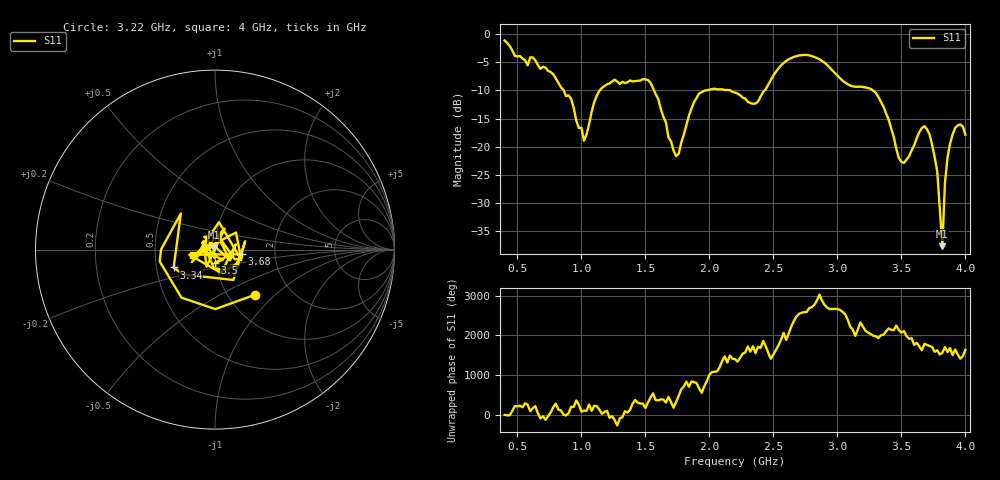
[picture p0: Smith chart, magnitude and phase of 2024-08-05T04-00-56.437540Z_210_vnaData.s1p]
!Created with skrf (http://scikit-rf.org).
# Hz S RI R 50.0
!freq ReS11 ImS11
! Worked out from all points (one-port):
!   181 points, 400 MHz to 4 GHz, reference 50 ohm
!   lowest |S11| = -37.6 dB at 3.82 GHz (marker M1), VSWR 1.03, Z = 49.2 + j1.01 ohm
!   |S11| at or under -10 dB: 861.2 MHz to 1.143 GHz (281.8 MHz wide, 28.1 % of centre); 1.567 GHz to 1.975 GHz (407.9 MHz wide, 23 % of centre); 3.278 GHz to end of sweep (the widest 3 of 4)
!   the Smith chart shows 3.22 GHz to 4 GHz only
!   S11 on the Smith chart (normalised r, x): 3.22 GHz: 1.33, -0.75; 3.34 GHz: 0.62, -0.13; 3.5 GHz: 0.99, -0.15; 3.68 GHz: 1.35, -0.07; 4 GHz: 0.78, -0.05
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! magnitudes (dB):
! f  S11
! 400 MHz  -1.2
! 860 MHz  -9.9
! 920 MHz  -11.5
! 1.02 GHz  -18.9
! 1.14 GHz  -10.1
! 1.3 GHz  -8.9
! 1.54 GHz  -8.7
! 1.72 GHz  -20.7
! 1.76 GHz  -21.3
! 1.84 GHz  -14.5
! 1.92 GHz  -10.5
! 2.2 GHz  -10.4
! 2.36 GHz  -12.3
! 2.66 GHz  -4.1
! 2.86 GHz  -4.5
! 3.1 GHz  -9.2
! 3.22 GHz  -9.5
! 3.34 GHz  -12.0
! 3.5 GHz  -22.7
! 3.56 GHz  -21.7
! 3.68 GHz  -16.3
! 3.72 GHz  -17.8
! 3.78 GHz  -24.4
! 3.82 GHz  -37.6
! 3.84 GHz  -26.4
! 3.88 GHz  -19.4
! 3.94 GHz  -16.2
! 4 GHz  -17.9
